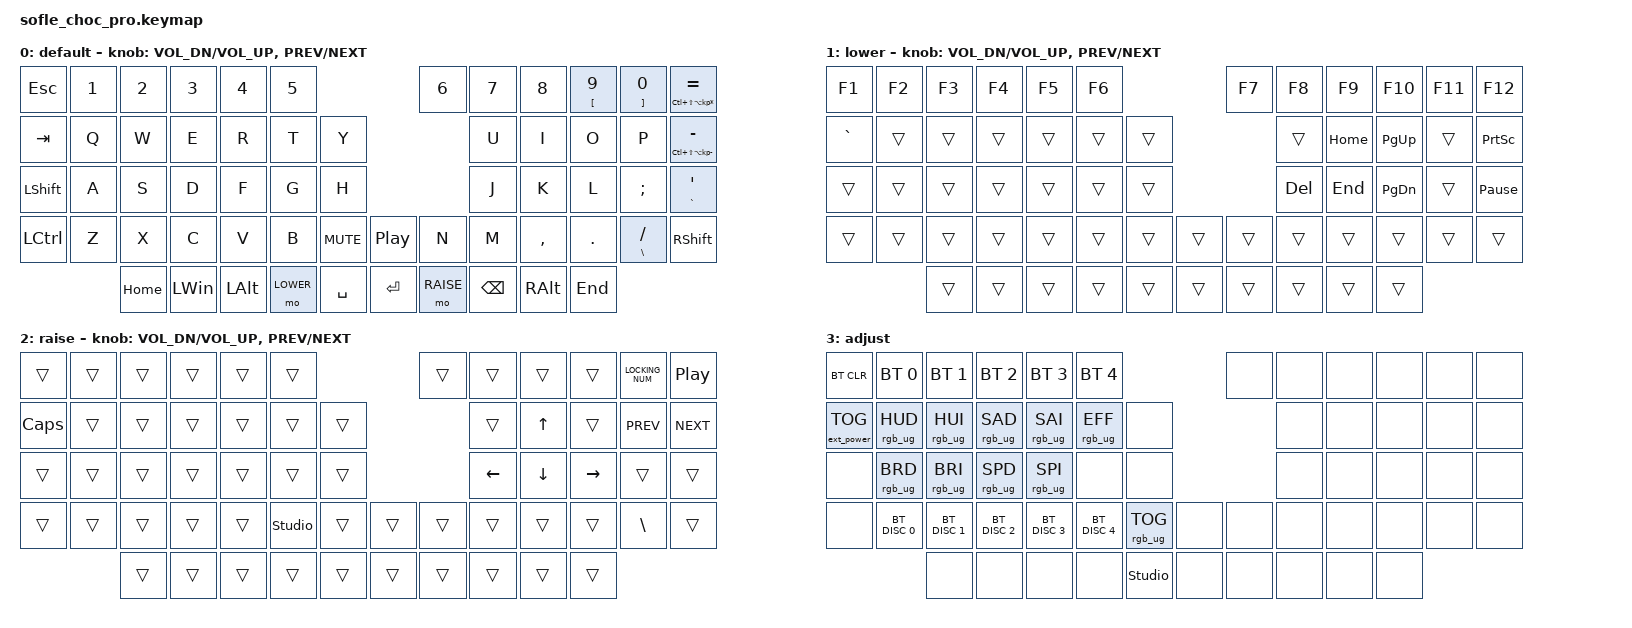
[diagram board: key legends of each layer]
/*
* Copyright (c) 2020 The ZMK Contributors
*
* SPDX-License-Identifier: MIT
*/

#include <behaviors.dtsi>
#include <dt-bindings/zmk/bt.h>
#include <dt-bindings/zmk/ext_power.h>
#include <dt-bindings/zmk/keys.h>
#include <dt-bindings/zmk/rgb.h>

#define BASE 0
#define LOWER 1
#define RAISE 2
#define ADJUST 3

/ {
    // Activate ADJUST layer by pressing raise and lower

    conditional_layers {
        compatible = "zmk,conditional-layers";

        adjust_layer {
            if-layers = <LOWER RAISE>;
            then-layer = <ADJUST>;
        };
    };

    behaviors {
        squarebracketDBtapL: squarebracketDBtapL {
            compatible = "zmk,behavior-tap-dance";
            label = "SQUAREBRACKETDBTAPL";
            #binding-cells = <0>;
            bindings = <&kp N9>, <&kp LEFT_BRACKET>;
        };

        squarebracketDBtapR: squarebracketDBtapR {
            compatible = "zmk,behavior-tap-dance";
            label = "SQUAREBRACKETDBTAPR";
            #binding-cells = <0>;
            bindings = <&kp N0>, <&kp RIGHT_BRACKET>;
        };

        longPress: longPress {
            compatible = "zmk,behavior-hold-tap";
            label = "LONGPRESS";
            bindings = <&kp>, <&kp>;

            #binding-cells = <2>;
            tapping-term-ms = <200>;
            flavor = "balanced";
        };

        tildeDBtap: tildeDBtap {
            compatible = "zmk,behavior-tap-dance";
            label = "TILDEDBTAP";
            #binding-cells = <0>;
            bindings = <&kp SQT>, <&kp GRAVE>;
        };

        backslashDBtap: backslashDBtap {
            compatible = "zmk,behavior-tap-dance";
            label = "BACKSLASHDBTAP";
            #binding-cells = <0>;
            bindings = <&kp SLASH>, <&kp BACKSLASH>;
        };
    };

    keymap {
        compatible = "zmk,keymap";

        default_layer {
            display-name = "default";

            // ------------------------------------------------------------------------------------------------------------
            // |   `   |  1  |  2  |  3   |  4   |  5   |                   |  6   |  7    |  8    |  9   |   0   |   `   |
            // |  ESC  |  Q  |  W  |  E   |  R   |  T   |                   |  Y   |  U    |  I    |  O   |   P   | BKSPC |
            // |  TAB  |  A  |  S  |  D   |  F   |  G   |                   |  H   |  J    |  K    |  L   |   ;   |   '   |
            // | SHIFT |  Z  |  X  |  C   |  V   |  B   |  MUTE  |  | PLAY  |  N   |  M    |  ,    |  .   |   /   | SHIFT |
            //               | GUI | ALT  | CTRL | LOWER|  ENTER |  | SPACE | RAISE| CTRL  | ALT   | GUI  |

            bindings = <
&kp ESCAPE        &kp N1  &kp N2    &kp N3        &kp N4        &kp N5                                   &kp N6     &kp N7         &kp N8     &longPress LEFT_BRACKET N9  &longPress RIGHT_BRACKET N0  &longPress LC(LS(LA(KP_MULTIPLY))) EQUAL
&kp TAB           &kp Q   &kp W     &kp E         &kp R         &kp T      &kp Y                                    &kp U          &kp I      &kp O                       &kp P                        &longPress LC(LS(LA(KP_MINUS))) MINUS
&kp LSHIFT        &kp A   &kp S     &kp D         &kp F         &kp G      &kp H                                    &kp J          &kp K      &kp L                       &kp SEMI                     &longPress GRAVE SINGLE_QUOTE
&kp LEFT_CONTROL  &kp Z   &kp X     &kp C         &kp V         &kp B      &kp C_MUTE  &kp C_PLAY_PAUSE  &kp N      &kp M          &kp COMMA  &kp DOT                     &longPress BACKSLASH SLASH   &kp RSHFT
                          &kp HOME  &kp LEFT_WIN  &kp LEFT_ALT  &mo LOWER  &kp SPACE   &kp ENTER         &mo RAISE  &kp BACKSPACE  &kp RALT   &kp END
            >;

            sensor-bindings = <&inc_dec_kp C_VOL_DN C_VOL_UP &inc_dec_kp C_PREV C_NEXT>;
        };

        lower {
            display-name = "lower";

            // ------------------------------------------------------------------------------------------------------------
            // |       |  F1 |  F2 |  F3  |  F4  |  F5  |                   |  F6  |  F7   |  F8   |  F9  |  F10  |  F11  |
            // |   `   |  1  |  2  |  3   |  4   |  5   |                   |  6   |  7    |  8    |  9   |   0   |  F12  |
            // |       |  !  |  @  |  #   |  $   |  %   |                   |  ^   |  &    |  *    |  (   |   )   |   |   |
            // |       |  =  |  -  |  +   |  {   |  }   |        |  |       |  [   |  ]    |  ;    |  :   |   \   |       |
            //               |     |      |      |      |        |  |       |      |       |       |      |

            bindings = <
&kp F1     &kp F2  &kp F3  &kp F4  &kp F5  &kp F6                  &kp F7  &kp F8   &kp F9    &kp F10        &kp F11  &kp F12
&kp GRAVE  &trans  &trans  &trans  &trans  &trans  &trans                  &trans   &kp HOME  &kp PG_UP      &trans   &kp PRINTSCREEN
&trans     &trans  &trans  &trans  &trans  &trans  &trans                  &kp DEL  &kp END   &kp PAGE_DOWN  &trans   &kp PAUSE_BREAK
&trans     &trans  &trans  &trans  &trans  &trans  &trans  &trans  &trans  &trans   &trans    &trans         &trans   &trans
                   &trans  &trans  &trans  &trans  &trans  &trans  &trans  &trans   &trans    &trans
            >;

            sensor-bindings = <&inc_dec_kp C_VOL_DN C_VOL_UP &inc_dec_kp C_PREV C_NEXT>;
        };

        raise {
            display-name = "raise";

            // ------------------------------------------------------------------------------------------------------------
            // | BTCLR | BT1  | BT2  |  BT3  |  BT4  |  BT5 |                |      |      |       |      |       |       |
            // |       | INS  | PSCR | GUI   |       |      |                | PGUP |      |   ^   |      |       |       |
            // |       | ALT  | CTRL | SHIFT |       | CAPS |                | PGDN |   <- |   v   |  ->  |  DEL  | BKSPC |
            // |       | UNDO | CUT  | COPY  | PASTE |      |      |  |      |      |      |       |      |       |       |
            //                |      |       |       |      |      |  |      |      |      |       |      |

            bindings = <
&trans    &trans  &trans  &trans  &trans  &trans                          &trans  &trans    &trans    &trans     &kp LOCKING_NUM  &kp C_PP
&kp CAPS  &trans  &trans  &trans  &trans  &trans          &trans                  &trans    &kp UP    &trans     &kp C_PREV       &kp C_NEXT
&trans    &trans  &trans  &trans  &trans  &trans          &trans                  &kp LEFT  &kp DOWN  &kp RIGHT  &trans           &trans
&trans    &trans  &trans  &trans  &trans  &studio_unlock  &trans  &trans  &trans  &trans    &trans    &trans     &kp BACKSLASH    &trans
                  &trans  &trans  &trans  &trans          &trans  &trans  &trans  &trans    &trans    &trans
            >;

            sensor-bindings = <&inc_dec_kp C_VOL_DN C_VOL_UP &inc_dec_kp C_PREV C_NEXT>;
        };

        adjust_layer {
            // ----------------------------------------------------------------------------------------------------------------------------
            // | BTCLR  |  BT1    |  BT2    |   BT3   |   BT4   |   BT5   |                  |      |      |       |      |       |       |
            // | EXTPWR | RGB_HUD | RGB_HUI | RGB_SAD | RGB_SAI | RGB_EFF |                  |      |      |       |      |       |       |
            // |        | RGB_BRD | RGB_BRI |         |         |         |                  |      |      |       |      |       |       |
            // |        |         |         |         |         |         | RGB_TOG | |      |      |      |       |      |       |       |
            //                    |         |         |         |         |         | |      |      |      |       |      |

            display-name = "adjust";
            bindings = <
&bt BT_CLR         &bt BT_SEL 0     &bt BT_SEL 1     &bt BT_SEL 2     &bt BT_SEL 3     &bt BT_SEL 4                             &none  &none  &none  &none  &none  &none
&ext_power EP_TOG  &rgb_ug RGB_HUD  &rgb_ug RGB_HUI  &rgb_ug RGB_SAD  &rgb_ug RGB_SAI  &rgb_ug RGB_EFF  &none                          &none  &none  &none  &none  &none
&none              &rgb_ug RGB_BRD  &rgb_ug RGB_BRI  &rgb_ug RGB_SPD  &rgb_ug RGB_SPI  &none            &none                          &none  &none  &none  &none  &none
&none              &bt BT_DISC 0    &bt BT_DISC 1    &bt BT_DISC 2    &bt BT_DISC 3    &bt BT_DISC 4    &rgb_ug RGB_TOG  &none  &none  &none  &none  &none  &none  &none
                                    &none            &none            &none            &none            &studio_unlock   &none  &none  &none  &none  &none
            >;
        };
    };
};
